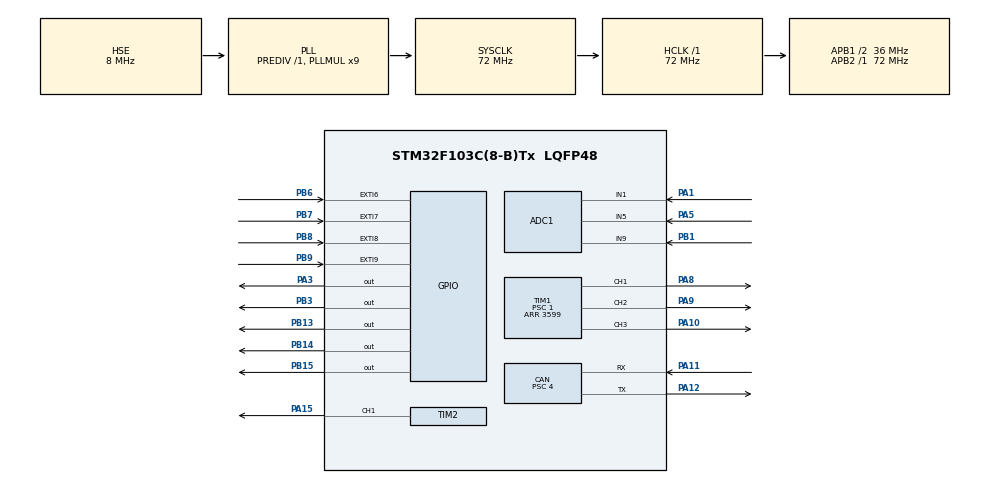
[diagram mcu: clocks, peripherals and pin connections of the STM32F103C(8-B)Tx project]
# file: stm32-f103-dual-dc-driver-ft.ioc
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ADC1.Channel-1\#ChannelRegularConversion=ADC_CHANNEL_1
ADC1.Channel-2\#ChannelRegularConversion=ADC_CHANNEL_5
ADC1.Channel-3\#ChannelRegularConversion=ADC_CHANNEL_9
ADC1.ContinuousConvMode=DISABLE
ADC1.NbrOfConversion=3
ADC1.NbrOfConversionFlag=1
ADC1.Rank-1\#ChannelRegularConversion=1
ADC1.Rank-2\#ChannelRegularConversion=2
ADC1.Rank-3\#ChannelRegularConversion=3
ADC1.SamplingTime-1\#ChannelRegularConversion=ADC_SAMPLETIME_7CYCLES_5
ADC1.SamplingTime-2\#ChannelRegularConversion=ADC_SAMPLETIME_7CYCLES_5
ADC1.SamplingTime-3\#ChannelRegularConversion=ADC_SAMPLETIME_7CYCLES_5
ADC1.master=1
CAN.BS1=CAN_BS1_7TQ
CAN.CalculateTimeBit=1000
CAN.CalculateTimeQuantum=111.11111111111111
CAN.Prescaler=4
Dma.ADC1.0.Direction=DMA_PERIPH_TO_MEMORY
Dma.ADC1.0.Instance=DMA1_Channel1
Dma.ADC1.0.MemDataAlignment=DMA_MDATAALIGN_HALFWORD
Dma.ADC1.0.MemInc=DMA_MINC_ENABLE
Dma.ADC1.0.Mode=DMA_CIRCULAR
Dma.ADC1.0.PeriphDataAlignment=DMA_PDATAALIGN_WORD
Dma.ADC1.0.PeriphInc=DMA_PINC_DISABLE
Dma.ADC1.0.Priority=DMA_PRIORITY_LOW
Dma.Request0=ADC1
FREERTOS.Tasks01=firstTask,24,128,StartDefaultTask,Default,NULL,Dynamic,NULL,NULL;secondTask,24,128,StartTask02,Default,NULL,Dynamic,NULL,NULL;thirdTask,8,128,StartTask03,Default,NULL,Dynamic,NULL,NULL;fourthTask,8,128,StartTask04,Default,NULL,Dynamic,NULL,NULL
FREERTOS.configGENERATE_RUN_TIME_STATS=1
FREERTOS.configTOTAL_HEAP_SIZE=6144
FREERTOS.configUSE_STATS_FORMATTING_FUNCTIONS=1
Mcu.Family=STM32F1
Mcu.Name=STM32F103C(8-B)Tx
Mcu.Package=LQFP48
NVIC.DMA1_Channel1_IRQn=true\:0\:0\:false\:false\:true\:true\:false\:true
NVIC.EXTI9_5_IRQn=true\:1\:0\:true\:false\:true\:false\:true\:true
NVIC.PriorityGroup=NVIC_PRIORITYGROUP_4
NVIC.TIM3_IRQn=true\:0\:0\:false\:false\:true\:true\:true\:true
NVIC.TIM4_IRQn=true\:0\:0\:false\:false\:true\:false\:false\:true
NVIC.TimeBase=TIM4_IRQn
NVIC.TimeBaseIP=TIM4
NVIC.USB_LP_CAN1_RX0_IRQn=true\:1\:0\:true\:false\:true\:false\:true\:true
PA1.Signal=ADCx_IN1
PA10.Signal=S_TIM1_CH3
PA11.Mode=Master
PA11.Signal=CAN_RX
PA12.Mode=Master
PA12.Signal=CAN_TX
PA13.Mode=Serial_Wire
PA13.Signal=SYS_JTMS-SWDIO
PA14.Mode=Serial_Wire
PA14.Signal=SYS_JTCK-SWCLK
PA15.Signal=S_TIM2_CH1_ETR
PA3.Signal=GPIO_Output
PA5.Signal=ADCx_IN5
PA8.Signal=S_TIM1_CH1
PA9.Signal=S_TIM1_CH2
PB1.Signal=ADCx_IN9
PB13.Signal=GPIO_Output
PB14.Signal=GPIO_Output
PB15.Signal=GPIO_Output
PB3.Signal=GPIO_Output
PB6.GPIO_PuPd=GPIO_PULLDOWN
PB6.Signal=GPXTI6
PB7.GPIO_PuPd=GPIO_PULLDOWN
PB7.Signal=GPXTI7
PB8.GPIO_PuPd=GPIO_PULLDOWN
PB8.Signal=GPXTI8
PB9.GPIO_PuPd=GPIO_PULLDOWN
PB9.Signal=GPXTI9
PD0-OSC_IN.Mode=HSE-External-Oscillator
PD0-OSC_IN.Signal=RCC_OSC_IN
PD1-OSC_OUT.Mode=HSE-External-Oscillator
PD1-OSC_OUT.Signal=RCC_OSC_OUT
ProjectManager.HeapSize=0x200
ProjectManager.StackSize=0x400
ProjectManager.TargetToolchain=STM32CubeIDE
RCC.ADCPresc=RCC_ADCPCLK2_DIV6
RCC.AHBFreq_Value=72000000
RCC.APB1CLKDivider=RCC_HCLK_DIV2
RCC.APB1Freq_Value=36000000
RCC.APB1TimFreq_Value=72000000
RCC.APB2Freq_Value=72000000
RCC.APB2TimFreq_Value=72000000
RCC.HCLKFreq_Value=72000000
RCC.PLLMUL=RCC_PLL_MUL9
RCC.PLLSourceVirtual=RCC_PLLSOURCE_HSE
RCC.SYSCLKFreq_VALUE=72000000
RCC.SYSCLKSource=RCC_SYSCLKSOURCE_PLLCLK
RCC.USBFreq_Value=72000000
SH.ADCx_IN1.0=ADC1_IN1,IN1
SH.ADCx_IN5.0=ADC1_IN5,IN5
SH.ADCx_IN9.0=ADC1_IN9,IN9
SH.S_TIM1_CH1.0=TIM1_CH1,PWM Generation1 CH1
SH.S_TIM1_CH2.0=TIM1_CH2,PWM Generation2 CH2
SH.S_TIM1_CH3.0=TIM1_CH3,PWM Generation3 CH3
SH.S_TIM2_CH1_ETR.0=TIM2_CH1,PWM Generation1 CH1
TIM1.Channel-PWM\ Generation1\ CH1=TIM_CHANNEL_1
TIM1.Channel-PWM\ Generation2\ CH2=TIM_CHANNEL_2
TIM1.Channel-PWM\ Generation3\ CH3=TIM_CHANNEL_3
TIM1.Period=3599
TIM1.Prescaler=1
TIM2.Channel-PWM\ Generation1\ CH1=TIM_CHANNEL_1
TIM2.Period=3599
TIM2.Prescaler=1
TIM3.Period=9999
TIM3.Prescaler=719
VP_FREERTOS_VS_CMSIS_V2.Mode=CMSIS_V2
VP_SYS_VS_tim4.Mode=TIM4
VP_TIM1_VS_ClockSourceINT.Mode=Internal
VP_TIM2_VS_ClockSourceINT.Mode=Internal
VP_TIM3_VS_ClockSourceINT.Mode=Internal
board=custom

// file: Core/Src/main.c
/* USER CODE BEGIN Header */
/**
  ******************************************************************************
  * @file           : main.c
  * @brief          : Main program body
  ******************************************************************************
  * @attention
  *
  * <h2><center>&copy; Copyright (c) 2020 STMicroelectronics.
  * All rights reserved.</center></h2>
  *
  * This software component is licensed by ST under Ultimate Liberty license
  * SLA0044, the "License"; You may not use this file except in compliance with
  * the License. You may obtain a copy of the License at:
  *                             www.st.com/SLA0044
  *
  ******************************************************************************
  */
/* USER CODE END Header */
#include "main.h"
#include "cmsis_os.h"

/* USER CODE BEGIN Includes */
#include "motor_lib.h"
#include "task.h"
#include "pid.h"
/* USER CODE END Includes */

/* USER CODE BEGIN PD */
#define _STOP 0
#define _CW 1
#define _CCW 2
/* USER CODE END PD */

ADC_HandleTypeDef hadc1;
DMA_HandleTypeDef hdma_adc1;

CAN_HandleTypeDef hcan;

TIM_HandleTypeDef htim1;
TIM_HandleTypeDef htim2;
TIM_HandleTypeDef htim3;

/* Definitions for firstTask */
osThreadId_t firstTaskHandle;
const osThreadAttr_t firstTask_attributes = {
  .name = "firstTask",
  .priority = (osPriority_t) osPriorityNormal,
  .stack_size = 128 * 4
};
/* Definitions for secondTask */
osThreadId_t secondTaskHandle;
const osThreadAttr_t secondTask_attributes = {
  .name = "secondTask",
  .priority = (osPriority_t) osPriorityNormal,
  .stack_size = 128 * 4
};
/* Definitions for thirdTask */
osThreadId_t thirdTaskHandle;
const osThreadAttr_t thirdTask_attributes = {
  .name = "thirdTask",
  .priority = (osPriority_t) osPriorityLow,
  .stack_size = 128 * 4
};
/* Definitions for fourthTask */
osThreadId_t fourthTaskHandle;
const osThreadAttr_t fourthTask_attributes = {
  .name = "fourthTask",
  .priority = (osPriority_t) osPriorityLow,
  .stack_size = 128 * 4
};
/* USER CODE BEGIN PV */
CAN_TxHeaderTypeDef pHeader;
CAN_RxHeaderTypeDef pRxHeader;
CAN_FilterTypeDef sFilterConfig;
uint32_t TxMailbox;
const uint32_t header_id = 0x1A;
const uint32_t filter_id = 0x1F;
uint8_t driver_can_tx_data[7] = {0,};
uint8_t can_rx_control_data[8] = {0,};

encoder_speed_data encoder_data = {0,};
can_TX_side can_tx_side = {0,};
can_RX_data can_rx_data = {0,};

const uint16_t encoder_ratio = 861;

uint16_t tim3_it;
uint16_t pwm_first;
uint16_t dc_driver_pwm_first = 0;
uint16_t pwm_second;
uint16_t dc_driver_pwm_second = 0;

volatile unsigned long highFrequencyTimerTick;
uint16_t current_first = 0;
uint16_t current_second = 0;
uint16_t temperature = 0;
uint16_t motors = 0;
uint16_t stop_motors = 0;
volatile uint8_t adc_can[3] = {0,};
volatile uint16_t adc[3] = {0,};
volatile uint8_t adc_flag = 0;
char pcWriteBuffer[1000];
/* USER CODE END PV */

void SystemClock_Config(void);
static void MX_GPIO_Init(void);
static void MX_DMA_Init(void);
static void MX_CAN_Init(void);
static void MX_TIM2_Init(void);
static void MX_TIM1_Init(void);
static void MX_TIM3_Init(void);
static void MX_ADC1_Init(void);
void StartDefaultTask(void *argument);
void StartTask02(void *argument);
void StartTask03(void *argument);
void StartTask04(void *argument);

/* USER CODE BEGIN 0 */
//void control_first_wheel(encoder_speed_data * enc_data);
//void control_second_wheel(encoder_speed_data * enc_data);
void HAL_ADC_ConvCpltCallback(ADC_HandleTypeDef* hadc)
{
    if(hadc->Instance == ADC1)
    {
        adc_flag = 1;
        //adc[0] = HAL_ADC_GetValue(&hadc1);
    }
}
/* USER CODE END 0 */

int main(void)
{

  /* MCU Configuration--------------------------------------------------------*/

  /* Reset of all peripherals, Initializes the Flash interface and the Systick. */
  HAL_Init();

  /* Configure the system clock */
  SystemClock_Config();

  /* Initialize all configured peripherals */
  MX_GPIO_Init();
  MX_DMA_Init();
  MX_CAN_Init();
  MX_TIM2_Init();
  MX_TIM1_Init();
  MX_TIM3_Init();
  MX_ADC1_Init();
  /* USER CODE BEGIN 2 */
  HAL_TIM_Base_Start_IT(&htim3);
  //HAL_TIM_Base_Start_IT(&htim2);
  HAL_TIM_PWM_Start(&htim2, TIM_CHANNEL_1);
  HAL_TIM_PWM_Start(&htim1, TIM_CHANNEL_1);
  HAL_TIM_PWM_Start(&htim1, TIM_CHANNEL_2);
  HAL_TIM_PWM_Start(&htim1, TIM_CHANNEL_3);

  pHeader.DLC = 7;
  pHeader.IDE = CAN_ID_STD;
  pHeader.RTR = CAN_RTR_DATA;
  pHeader.StdId = header_id;

  sFilterConfig.FilterFIFOAssignment = CAN_FILTER_FIFO0;
  sFilterConfig.FilterIdHigh = filter_id <<5;
  sFilterConfig.FilterIdLow = 0;
  sFilterConfig.FilterMaskIdHigh = 0;
  sFilterConfig.FilterMaskIdLow = 0;
  sFilterConfig.FilterScale = CAN_FILTERSCALE_16BIT;
  sFilterConfig.FilterMode = CAN_FILTERMODE_IDLIST;
  sFilterConfig.FilterActivation = ENABLE;
  HAL_CAN_ConfigFilter(&hcan, &sFilterConfig);

  HAL_CAN_Start(&hcan);
  HAL_CAN_ActivateNotification(&hcan, CAN_IT_RX_FIFO0_MSG_PENDING);

  HAL_ADCEx_Calibration_Start(&hadc1);
  //HAL_ADC_Start_IT(&hadc1);
  HAL_ADC_Start_DMA(&hadc1, (uint32_t*)&adc, 3);
  /* USER CODE END 2 */

  /* Init scheduler */
  osKernelInitialize();

  /* Create the thread(s) */
  /* creation of firstTask */
  firstTaskHandle = osThreadNew(StartDefaultTask, NULL, &firstTask_attributes);

  /* creation of secondTask */
  secondTaskHandle = osThreadNew(StartTask02, NULL, &secondTask_attributes);

  /* creation of thirdTask */
  thirdTaskHandle = osThreadNew(StartTask03, NULL, &thirdTask_attributes);

  /* creation of fourthTask */
  fourthTaskHandle = osThreadNew(StartTask04, NULL, &fourthTask_attributes);

  /* Start scheduler */
  osKernelStart();

  /* We should never get here as control is now taken by the scheduler */
  /* Infinite loop */
  while (1)
  {

  }
}

void SystemClock_Config(void)
{
  RCC_OscInitTypeDef RCC_OscInitStruct = {0};
  RCC_ClkInitTypeDef RCC_ClkInitStruct = {0};
  RCC_PeriphCLKInitTypeDef PeriphClkInit = {0};

  /** Initializes the RCC Oscillators according to the specified parameters
  * in the RCC_OscInitTypeDef structure.
  */
  RCC_OscInitStruct.OscillatorType = RCC_OSCILLATORTYPE_HSE;
  RCC_OscInitStruct.HSEState = RCC_HSE_ON;
  RCC_OscInitStruct.HSEPredivValue = RCC_HSE_PREDIV_DIV1;
  RCC_OscInitStruct.HSIState = RCC_HSI_ON;
  RCC_OscInitStruct.PLL.PLLState = RCC_PLL_ON;
  RCC_OscInitStruct.PLL.PLLSource = RCC_PLLSOURCE_HSE;
  RCC_OscInitStruct.PLL.PLLMUL = RCC_PLL_MUL9;
  if (HAL_RCC_OscConfig(&RCC_OscInitStruct) != HAL_OK)
  {
    Error_Handler();
  }
  /** Initializes the CPU, AHB and APB buses clocks
  */
  RCC_ClkInitStruct.ClockType = RCC_CLOCKTYPE_HCLK|RCC_CLOCKTYPE_SYSCLK
                              |RCC_CLOCKTYPE_PCLK1|RCC_CLOCKTYPE_PCLK2;
  RCC_ClkInitStruct.SYSCLKSource = RCC_SYSCLKSOURCE_PLLCLK;
  RCC_ClkInitStruct.AHBCLKDivider = RCC_SYSCLK_DIV1;
  RCC_ClkInitStruct.APB1CLKDivider = RCC_HCLK_DIV2;
  RCC_ClkInitStruct.APB2CLKDivider = RCC_HCLK_DIV1;

  if (HAL_RCC_ClockConfig(&RCC_ClkInitStruct, FLASH_LATENCY_2) != HAL_OK)
  {
    Error_Handler();
  }
  PeriphClkInit.PeriphClockSelection = RCC_PERIPHCLK_ADC;
  PeriphClkInit.AdcClockSelection = RCC_ADCPCLK2_DIV6;
  if (HAL_RCCEx_PeriphCLKConfig(&PeriphClkInit) != HAL_OK)
  {
    Error_Handler();
  }
}

static void MX_ADC1_Init(void)
{

  ADC_ChannelConfTypeDef sConfig = {0};

  /** Common config
  */
  hadc1.Instance = ADC1;
  hadc1.Init.ScanConvMode = ADC_SCAN_ENABLE;
  hadc1.Init.ContinuousConvMode = DISABLE;
  hadc1.Init.DiscontinuousConvMode = DISABLE;
  hadc1.Init.ExternalTrigConv = ADC_SOFTWARE_START;
  hadc1.Init.DataAlign = ADC_DATAALIGN_RIGHT;
  hadc1.Init.NbrOfConversion = 3;
  if (HAL_ADC_Init(&hadc1) != HAL_OK)
  {
    Error_Handler();
  }
  /** Configure Regular Channel
  */
  sConfig.Channel = ADC_CHANNEL_1;
  sConfig.Rank = ADC_REGULAR_RANK_1;
  sConfig.SamplingTime = ADC_SAMPLETIME_7CYCLES_5;
  if (HAL_ADC_ConfigChannel(&hadc1, &sConfig) != HAL_OK)
  {
    Error_Handler();
  }
  /** Configure Regular Channel
  */
  sConfig.Channel = ADC_CHANNEL_5;
  sConfig.Rank = ADC_REGULAR_RANK_2;
  if (HAL_ADC_ConfigChannel(&hadc1, &sConfig) != HAL_OK)
  {
    Error_Handler();
  }
  /** Configure Regular Channel
  */
  sConfig.Channel = ADC_CHANNEL_9;
  sConfig.Rank = ADC_REGULAR_RANK_3;
  if (HAL_ADC_ConfigChannel(&hadc1, &sConfig) != HAL_OK)
  {
    Error_Handler();
  }

}

static void MX_CAN_Init(void)
{

  hcan.Instance = CAN1;
  hcan.Init.Prescaler = 4;
  hcan.Init.Mode = CAN_MODE_NORMAL;
  hcan.Init.SyncJumpWidth = CAN_SJW_1TQ;
  hcan.Init.TimeSeg1 = CAN_BS1_7TQ;
  hcan.Init.TimeSeg2 = CAN_BS2_1TQ;
  hcan.Init.TimeTriggeredMode = DISABLE;
  hcan.Init.AutoBusOff = DISABLE;
  hcan.Init.AutoWakeUp = DISABLE;
  hcan.Init.AutoRetransmission = DISABLE;
  hcan.Init.ReceiveFifoLocked = DISABLE;
  hcan.Init.TransmitFifoPriority = DISABLE;
  if (HAL_CAN_Init(&hcan) != HAL_OK)
  {
    Error_Handler();
  }

}

static void MX_TIM1_Init(void)
{

  TIM_ClockConfigTypeDef sClockSourceConfig = {0};
  TIM_MasterConfigTypeDef sMasterConfig = {0};
  TIM_OC_InitTypeDef sConfigOC = {0};
  TIM_BreakDeadTimeConfigTypeDef sBreakDeadTimeConfig = {0};

  htim1.Instance = TIM1;
  htim1.Init.Prescaler = 1;
  htim1.Init.CounterMode = TIM_COUNTERMODE_UP;
  htim1.Init.Period = 3599;
  htim1.Init.ClockDivision = TIM_CLOCKDIVISION_DIV1;
  htim1.Init.RepetitionCounter = 0;
  htim1.Init.AutoReloadPreload = TIM_AUTORELOAD_PRELOAD_DISABLE;
  if (HAL_TIM_Base_Init(&htim1) != HAL_OK)
  {
    Error_Handler();
  }
  sClockSourceConfig.ClockSource = TIM_CLOCKSOURCE_INTERNAL;
  if (HAL_TIM_ConfigClockSource(&htim1, &sClockSourceConfig) != HAL_OK)
  {
    Error_Handler();
  }
  if (HAL_TIM_PWM_Init(&htim1) != HAL_OK)
  {
    Error_Handler();
  }
  sMasterConfig.MasterOutputTrigger = TIM_TRGO_RESET;
  sMasterConfig.MasterSlaveMode = TIM_MASTERSLAVEMODE_DISABLE;
  if (HAL_TIMEx_MasterConfigSynchronization(&htim1, &sMasterConfig) != HAL_OK)
  {
    Error_Handler();
  }
  sConfigOC.OCMode = TIM_OCMODE_PWM1;
  sConfigOC.Pulse = 0;
  sConfigOC.OCPolarity = TIM_OCPOLARITY_HIGH;
  sConfigOC.OCNPolarity = TIM_OCNPOLARITY_HIGH;
  sConfigOC.OCFastMode = TIM_OCFAST_DISABLE;
  sConfigOC.OCIdleState = TIM_OCIDLESTATE_RESET;
  sConfigOC.OCNIdleState = TIM_OCNIDLESTATE_RESET;
  if (HAL_TIM_PWM_ConfigChannel(&htim1, &sConfigOC, TIM_CHANNEL_1) != HAL_OK)
  {
    Error_Handler();
  }
  if (HAL_TIM_PWM_ConfigChannel(&htim1, &sConfigOC, TIM_CHANNEL_2) != HAL_OK)
  {
    Error_Handler();
  }
  if (HAL_TIM_PWM_ConfigChannel(&htim1, &sConfigOC, TIM_CHANNEL_3) != HAL_OK)
  {
    Error_Handler();
  }
  sBreakDeadTimeConfig.OffStateRunMode = TIM_OSSR_DISABLE;
  sBreakDeadTimeConfig.OffStateIDLEMode = TIM_OSSI_DISABLE;
  sBreakDeadTimeConfig.LockLevel = TIM_LOCKLEVEL_OFF;
  sBreakDeadTimeConfig.DeadTime = 0;
  sBreakDeadTimeConfig.BreakState = TIM_BREAK_DISABLE;
  sBreakDeadTimeConfig.BreakPolarity = TIM_BREAKPOLARITY_HIGH;
  sBreakDeadTimeConfig.AutomaticOutput = TIM_AUTOMATICOUTPUT_DISABLE;
  if (HAL_TIMEx_ConfigBreakDeadTime(&htim1, &sBreakDeadTimeConfig) != HAL_OK)
  {
    Error_Handler();
  }
  HAL_TIM_MspPostInit(&htim1);

}

static void MX_TIM2_Init(void)
{

  TIM_ClockConfigTypeDef sClockSourceConfig = {0};
  TIM_MasterConfigTypeDef sMasterConfig = {0};
  TIM_OC_InitTypeDef sConfigOC = {0};

  htim2.Instance = TIM2;
  htim2.Init.Prescaler = 1;
  htim2.Init.CounterMode = TIM_COUNTERMODE_UP;
  htim2.Init.Period = 3599;
  htim2.Init.ClockDivision = TIM_CLOCKDIVISION_DIV1;
  htim2.Init.AutoReloadPreload = TIM_AUTORELOAD_PRELOAD_DISABLE;
  if (HAL_TIM_Base_Init(&htim2) != HAL_OK)
  {
    Error_Handler();
  }
  sClockSourceConfig.ClockSource = TIM_CLOCKSOURCE_INTERNAL;
  if (HAL_TIM_ConfigClockSource(&htim2, &sClockSourceConfig) != HAL_OK)
  {
    Error_Handler();
  }
  if (HAL_TIM_PWM_Init(&htim2) != HAL_OK)
  {
    Error_Handler();
  }
  sMasterConfig.MasterOutputTrigger = TIM_TRGO_RESET;
  sMasterConfig.MasterSlaveMode = TIM_MASTERSLAVEMODE_DISABLE;
  if (HAL_TIMEx_MasterConfigSynchronization(&htim2, &sMasterConfig) != HAL_OK)
  {
    Error_Handler();
  }
  sConfigOC.OCMode = TIM_OCMODE_PWM1;
  sConfigOC.Pulse = 0;
  sConfigOC.OCPolarity = TIM_OCPOLARITY_HIGH;
  sConfigOC.OCFastMode = TIM_OCFAST_DISABLE;
  if (HAL_TIM_PWM_ConfigChannel(&htim2, &sConfigOC, TIM_CHANNEL_1) != HAL_OK)
  {
    Error_Handler();
  }
  HAL_TIM_MspPostInit(&htim2);

}

static void MX_TIM3_Init(void)
{

  TIM_ClockConfigTypeDef sClockSourceConfig = {0};
  TIM_MasterConfigTypeDef sMasterConfig = {0};

  htim3.Instance = TIM3;
  htim3.Init.Prescaler = 719;
  htim3.Init.CounterMode = TIM_COUNTERMODE_UP;
  htim3.Init.Period = 9999;
  htim3.Init.ClockDivision = TIM_CLOCKDIVISION_DIV1;
  htim3.Init.AutoReloadPreload = TIM_AUTORELOAD_PRELOAD_DISABLE;
  if (HAL_TIM_Base_Init(&htim3) != HAL_OK)
  {
    Error_Handler();
  }
  sClockSourceConfig.ClockSource = TIM_CLOCKSOURCE_INTERNAL;
  if (HAL_TIM_ConfigClockSource(&htim3, &sClockSourceConfig) != HAL_OK)
  {
    Error_Handler();
  }
  sMasterConfig.MasterOutputTrigger = TIM_TRGO_RESET;
  sMasterConfig.MasterSlaveMode = TIM_MASTERSLAVEMODE_DISABLE;
  if (HAL_TIMEx_MasterConfigSynchronization(&htim3, &sMasterConfig) != HAL_OK)
  {
    Error_Handler();
  }

}

static void MX_DMA_Init(void)
{

  /* DMA controller clock enable */
  __HAL_RCC_DMA1_CLK_ENABLE();

  /* DMA interrupt init */
  /* DMA1_Channel1_IRQn interrupt configuration */
  HAL_NVIC_SetPriority(DMA1_Channel1_IRQn, 0, 0);
  HAL_NVIC_EnableIRQ(DMA1_Channel1_IRQn);

}

static void MX_GPIO_Init(void)
{
  GPIO_InitTypeDef GPIO_InitStruct = {0};

  /* GPIO Ports Clock Enable */
  __HAL_RCC_GPIOD_CLK_ENABLE();
  __HAL_RCC_GPIOA_CLK_ENABLE();
  __HAL_RCC_GPIOB_CLK_ENABLE();

  /*Configure GPIO pin Output Level */
  HAL_GPIO_WritePin(GPIOA, GPIO_PIN_3, GPIO_PIN_RESET);

  /*Configure GPIO pin Output Level */
  HAL_GPIO_WritePin(GPIOB, GPIO_PIN_13|GPIO_PIN_14|GPIO_PIN_15|GPIO_PIN_3, GPIO_PIN_RESET);

  /*Configure GPIO pin : PA3 */
  GPIO_InitStruct.Pin = GPIO_PIN_3;
  GPIO_InitStruct.Mode = GPIO_MODE_OUTPUT_PP;
  GPIO_InitStruct.Pull = GPIO_NOPULL;
  GPIO_InitStruct.Speed = GPIO_SPEED_FREQ_LOW;
  HAL_GPIO_Init(GPIOA, &GPIO_InitStruct);

  /*Configure GPIO pins : PB13 PB14 PB15 PB3 */
  GPIO_InitStruct.Pin = GPIO_PIN_13|GPIO_PIN_14|GPIO_PIN_15|GPIO_PIN_3;
  GPIO_InitStruct.Mode = GPIO_MODE_OUTPUT_PP;
  GPIO_InitStruct.Pull = GPIO_NOPULL;
  GPIO_InitStruct.Speed = GPIO_SPEED_FREQ_LOW;
  HAL_GPIO_Init(GPIOB, &GPIO_InitStruct);

  /*Configure GPIO pins : PB6 PB7 PB8 PB9 */
  GPIO_InitStruct.Pin = GPIO_PIN_6|GPIO_PIN_7|GPIO_PIN_8|GPIO_PIN_9;
  GPIO_InitStruct.Mode = GPIO_MODE_IT_RISING;
  GPIO_InitStruct.Pull = GPIO_PULLDOWN;
  HAL_GPIO_Init(GPIOB, &GPIO_InitStruct);

  /* EXTI interrupt init*/
  HAL_NVIC_SetPriority(EXTI9_5_IRQn, 1, 0);
  HAL_NVIC_EnableIRQ(EXTI9_5_IRQn);

}

/* USER CODE BEGIN 4 */
void HAL_GPIO_EXTI_Callback(uint16_t GPIO_Pin) {
	if (GPIO_Pin == GPIO_PIN_6) {
		++encoder_data.encoder_tick_d;
	}
	else if (GPIO_Pin == GPIO_PIN_7) {
		++encoder_data.encoder_tick_c;
	}
	else if (GPIO_Pin == GPIO_PIN_8) {
		++encoder_data.encoder_tick_b;
	}
	else if (GPIO_Pin == GPIO_PIN_9) {
		++encoder_data.encoder_tick_a;
	}
}
/* USER CODE END 4 */

void StartDefaultTask(void *argument)
{
  /* USER CODE BEGIN 5 */
  /* Infinite loop */
  for(;;)
  {
	if ((current_first < 2500) && (current_second < 2500) && (temperature > 1000)) {
		control_first_wheel(&encoder_data, &can_rx_data);
		osDelay(10);
		control_second_wheel(&encoder_data, &can_rx_data);
		osDelay(10);
		motors++;
	}
	else {
		stop_movement_first();
		stop_movement_second();
		stop_motors++;
		HAL_Delay(10000);
		osDelay(5000);
	}
//	control_second_wheel(&encoder_data, &can_rx_data);
//	osDelay(10);
//	rotate_first_ccw(30, encoder_data.encoder_speed_first);
//	osDelay(10);
//	rotate_second_ccw(30, encoder_data.encoder_speed_second);
//  osDelay(10);
  }
  /* USER CODE END 5 */
}

void StartTask02(void *argument)
{
  /* USER CODE BEGIN StartTask02 */
  /* Infinite loop */
  for(;;)
  {
	//control_second_wheel(&encoder_data, &can_rx_data);
	//vTaskGetRunTimeStats(pcWriteBuffer);
	//control_second_wheel(&encoder_data, &can_rx_data);
	osDelay(2000);
  }
  /* USER CODE END StartTask02 */
}

void StartTask03(void *argument)
{
  /* USER CODE BEGIN StartTask03 */
  /* Infinite loop */
  for(;;)
  {
	  driver_can_tx_data[0] = encoder_data.encoder_speed_first_can; //for right controller
	  driver_can_tx_data[1] = can_tx_side.first_motor_can_tx_side;
	  driver_can_tx_data[2] = encoder_data.encoder_speed_second_can;
	  driver_can_tx_data[3] = can_tx_side.second_motor_can_tx_side;
//	  driver_can_tx_data[2] = encoder_data.encoder_speed_first_can;
//	  driver_can_tx_data[3] = can_tx_side.first_motor_can_tx_side;
//	  driver_can_tx_data[0] = encoder_data.encoder_speed_second_can;
//	  driver_can_tx_data[1] = can_tx_side.second_motor_can_tx_side;
	  driver_can_tx_data[4] = adc_can[0];
	  driver_can_tx_data[5] = adc_can[1];
	  driver_can_tx_data[6] = adc_can[2];
	  HAL_CAN_AddTxMessage(&hcan, &pHeader, driver_can_tx_data, &TxMailbox);
	  osDelay(10);
  }
  /* USER CODE END StartTask03 */
}

void StartTask04(void *argument)
{
  /* USER CODE BEGIN StartTask04 */
  /* Infinite loop */
  for(;;)
  {
	if(adc_flag)
	{
		adc_flag = 0;
	  	HAL_ADC_Stop_DMA(&hadc1);
	  	current_first = adc[0];
	  	current_second = adc[1];
	  	temperature = adc[2];
	  	adc_can[0] = (uint8_t)(adc[0]/10);
	  	adc_can[1] = (uint8_t)(adc[1]/10);
	    adc_can[2] = (uint8_t)(adc[2]/10);
	  	adc[0] = 0;
	  	adc[1] = 0;
	  	adc[2] = 0;
	  	HAL_ADC_Start_DMA(&hadc1, (uint32_t*)&adc, 3);
	}
    osDelay(100);
  }
  /* USER CODE END StartTask04 */
}

void HAL_TIM_PeriodElapsedCallback(TIM_HandleTypeDef *htim)
{
  if (htim->Instance == TIM4) {
    HAL_IncTick();
  }
  /* USER CODE BEGIN Callback 1 */
  if (htim->Instance == TIM3) {
	++tim3_it;
	encoder_data.encoder_speed_first = encoder_data.encoder_tick_a*(float)600/encoder_ratio;
	encoder_data.encoder_speed_second = encoder_data.encoder_tick_c*(float)600/encoder_ratio;
	encoder_data.encoder_speed_first_can = (uint8_t)(encoder_data.encoder_tick_a*(float)600/encoder_ratio);
	encoder_data.encoder_speed_second_can = (uint8_t)(encoder_data.encoder_tick_c*(float)600/encoder_ratio);
	encoder_data.encoder_tick_a = 0;
	encoder_data.encoder_tick_c = 0;
  }
//  else if (htim->Instance == TIM2) {
//    ++highFrequencyTimerTick;
//  }
  /* USER CODE END Callback 1 */
}

void Error_Handler(void)
{
}

/************************ (C) COPYRIGHT STMicroelectronics *****END OF FILE****/

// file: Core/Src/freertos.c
/* USER CODE BEGIN Header */
/**
  ******************************************************************************
  * File Name          : freertos.c
  * Description        : Code for freertos applications
  ******************************************************************************
  * @attention
  *
  * <h2><center>&copy; Copyright (c) 2020 STMicroelectronics.
  * All rights reserved.</center></h2>
  *
  * This software component is licensed by ST under Ultimate Liberty license
  * SLA0044, the "License"; You may not use this file except in compliance with
  * the License. You may obtain a copy of the License at:
  *                             www.st.com/SLA0044
  *
  ******************************************************************************
  */
/* USER CODE END Header */

#include "FreeRTOS.h"
#include "task.h"
#include "main.h"

/* Hook prototypes */
void configureTimerForRunTimeStats(void);
unsigned long getRunTimeCounterValue(void);

/* USER CODE BEGIN 1 */
/* Functions needed when configGENERATE_RUN_TIME_STATS is on */
__weak void configureTimerForRunTimeStats(void)
{

}

__weak unsigned long getRunTimeCounterValue(void)
{
return 0;
}
/* USER CODE END 1 */

/************************ (C) COPYRIGHT STMicroelectronics *****END OF FILE****/
